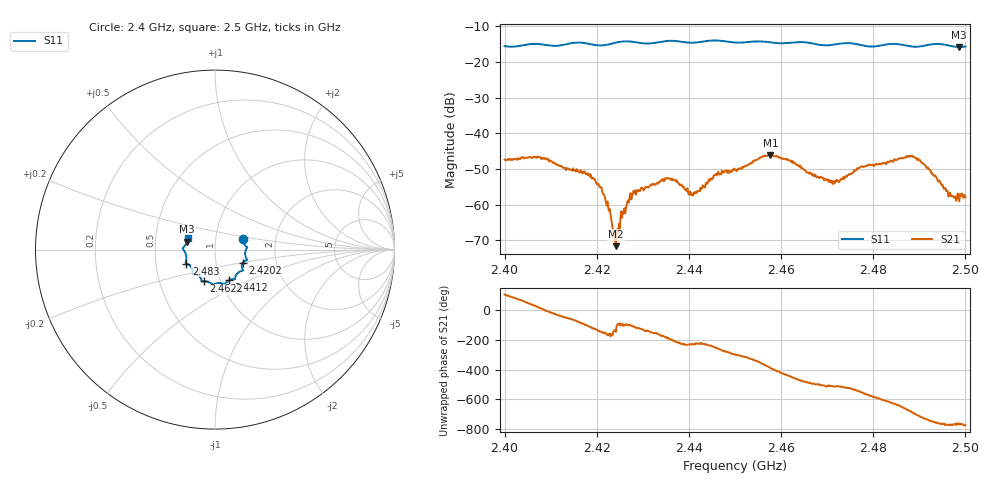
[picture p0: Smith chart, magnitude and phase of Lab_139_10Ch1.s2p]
# Hz S RI R 50
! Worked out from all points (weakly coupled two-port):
!   601 points, 2.4 GHz to 2.5 GHz, reference 50 ohm
!   highest |S21| = -46.06 dB at 2.4577 GHz (marker M1); lowest = -71.7 dB at 2.4242 GHz (marker M2)
!   lowest |S11| = -15.8 dB at 2.4987 GHz (marker M3), VSWR 1.39, Z = 36.4 + j3.28 ohm
!   |S11| at or under -10 dB: start of sweep to end of sweep
!   S12 and S22 are empty: the file has one direction only
!   S11 on the Smith chart (normalised r, x): 2.4 GHz: 1.36, +0.17; 2.4202 GHz: 1.35, -0.20; 2.4412 GHz: 1.09, -0.39; 2.4622 GHz: 0.83, -0.30; 2.483 GHz: 0.72, -0.12; 2.5 GHz: 0.73, +0.09
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2.4e9  0.1565 0.0599  -0.00128 0.00409  0 0  0 0
2.407333e9  0.1788 0.0108  0.00437 0.00161  0 0  0 0
2.416667e9  0.1777 -0.0585  0.000145 -0.00286  0 0  0 0
2.420167e9  0.156 -0.0719  -0.00134 -0.00138  0 0  0 0
2.422e9  0.1493 -0.0891  -0.001 -0.000446  0 0  0 0
2.424167e9  0.1532 -0.1084  -0.000214 -0.00015  0 0  0 0
2.427667e9  0.153 -0.1175  -0.000394 -0.00126  0 0  0 0
2.433333e9  0.1128 -0.1524  -0.00187 -0.00061  0 0  0 0
2.435833e9  0.1109 -0.1648  -0.00227 0.000525  0 0  0 0
2.441167e9  0.0753 -0.1715  -0.000969 0.00103  0 0  0 0
2.445833e9  0.0522 -0.1942  -0.000887 0.00253  0 0  0 0
2.45e9  0.0263 -0.1862  0.00145 0.0027  0 0  0 0
2.457667e9  -0.0221 -0.1881  0.00434 -0.00244  0 0  0 0
2.462167e9  -0.0632 -0.1763  0.000125 -0.00414  0 0  0 0
2.466667e9  -0.0766 -0.167  -0.0019 -0.0018  0 0  0 0
2.471333e9  -0.109 -0.1373  -0.00192 -0.000905  0 0  0 0
2.483e9  -0.1593 -0.0781  -0.00105 0.00378  0 0  0 0
2.483333e9  -0.1609 -0.0774  -0.000839 0.00384  0 0  0 0
2.488833e9  -0.16 -0.0373  0.00423 0.00198  0 0  0 0
2.496667e9  -0.168 0.0211  0.000924 -0.00114  0 0  0 0
2.498667e9  -0.1558 0.0438  0.000782 -0.000791  0 0  0 0
2.5e9  -0.1532 0.0627  0.000698 -0.00105  0 0  0 0
